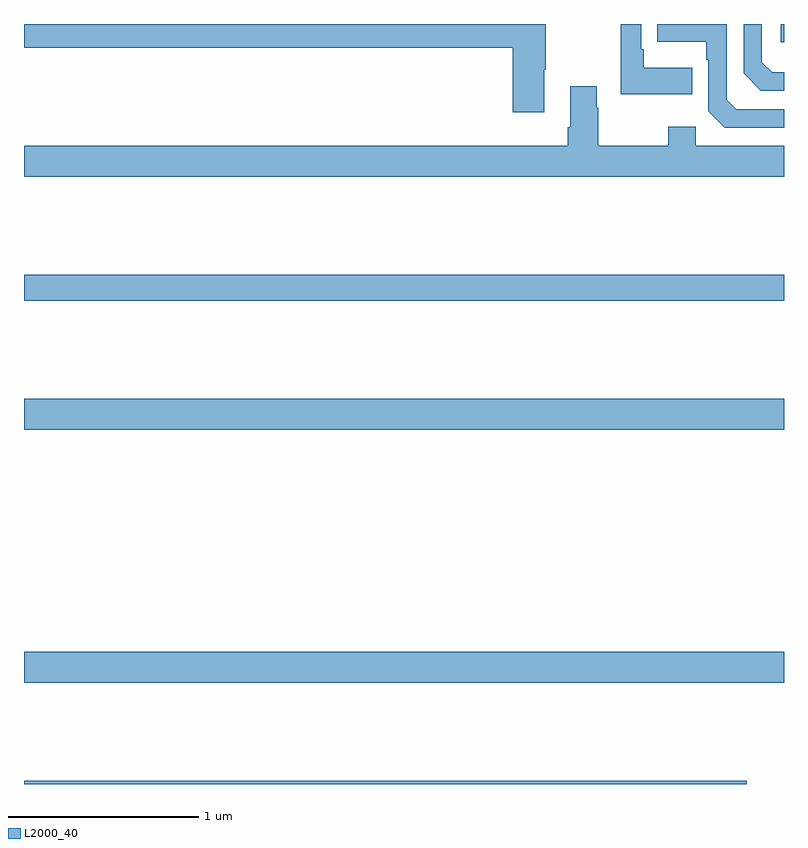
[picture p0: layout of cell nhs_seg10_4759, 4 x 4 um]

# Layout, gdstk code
import gdstk
lib = gdstk.Library(unit=1e-6, precision=1e-09)
def R(c, l, rs):  # rectangles x0, y0, x1, y1
    for r in rs: c.add(gdstk.rectangle(r[:2], r[2:], *l))
def P(c, l, *ps):  # polygons
    for p in ps: c.add(gdstk.Polygon(p, *l))
L2000_40 = (2000, 40)

nhs_seg10_4759 = lib.new_cell('nhs_seg10_4759')
R(nhs_seg10_4759, L2000_40, [(385,1250.5,388.804,1250.516), (385,1251.032,389,1251.196), (385,1252.364,389,1252.528), (385,1253.044,389,1253.18), (388.983,1254.404,389,1254.5)])
P(nhs_seg10_4759, L2000_40, [(387.739,1254.259),(387.747,1254.259),(387.747,1254.5),(385,1254.5),(385,1254.376),(387.572,1254.376),(387.572,1254.036),(387.739,1254.036)],
  [(389,1254.247),(388.937,1254.247),(388.884,1254.3),(388.884,1254.5),(388.788,1254.5),(388.788,1254.24),(388.878,1254.15),(389,1254.15)],
  [(388.517,1254.271),(388.261,1254.271),(388.261,1254.367),(388.248,1254.367),(388.248,1254.5),(388.14,1254.5),(388.14,1254.131),(388.517,1254.131)],
  [(389,1254.051),(388.749,1254.051),(388.698,1254.102),(388.698,1254.5),(388.333,1254.5),(388.333,1254.407),(388.59,1254.407),(388.59,1254.311),(388.602,1254.311),(388.602,1254.042),(388.689,1253.955),(389,1253.955)],
  [(389,1253.86),(388.536,1253.86),(388.536,1253.959),(388.39,1253.959),(388.39,1253.86),(388.023,1253.86),(388.023,1254.059),(388.015,1254.059),(388.015,1254.172),(387.875,1254.172),(387.875,1253.956),(387.863,1253.956),(387.863,1253.86),(385,1253.86),(385,1253.696),(389,1253.696)])

lib.write_gds('nhs_seg10_4759.gds')
